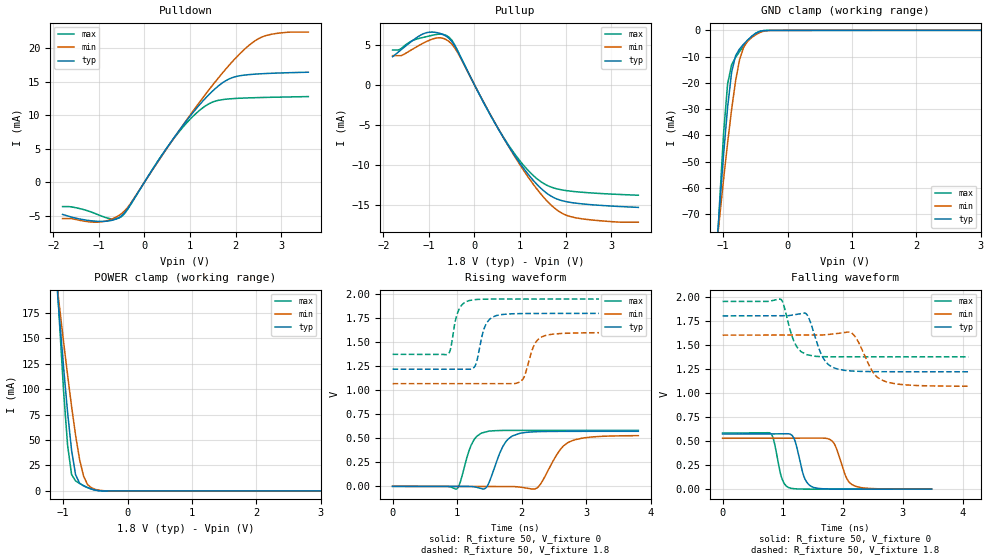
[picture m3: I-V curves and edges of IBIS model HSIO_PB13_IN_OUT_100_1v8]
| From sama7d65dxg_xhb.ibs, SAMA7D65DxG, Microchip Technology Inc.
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|   Model   HSIO_PB13_IN_OUT_100
[Model] HSIO_PB13_IN_OUT_100_1v8
Model_type I/O
Enable   Active-High
Vinl  =  0.54
Vinh  =  1.26
Vmeas =  0.900
| Capacitance   typ   min   max
C_comp   1.163036691660317e-12   1.110531179970373e-12   1.233897269043508e-12
| Variables   typ   min   max
[GND Clamp Reference]   0   0   0
[POWER Clamp Reference]   1.8   1.6   1.95
[Pulldown Reference]   0   0   0
[Pullup Reference]   1.8   1.6   1.95
[Temperature Range]   25   125   -40
[Voltage Range]   1.8   1.6   1.95
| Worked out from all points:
|   slope of the pulldown table from 0 to 0.27 V, typ, clamps not added: 94.7 ohm
|   slope of the pullup table from 0 to 0.27 V, typ, clamps not added: 92.7 ohm
|   GND clamp passes 1 mA (typ) near -0.48 V on its own axis
|   POWER clamp passes 1 mA (typ) near -0.51 V on its own axis
|   falling waveform, R_fixture 50, V_fixture 0: 20-80 % time 139ps typ, 177ps min, 117ps max; typ from 0.573 V to 0 V
|   falling waveform, R_fixture 50, V_fixture 1.8: 20-80 % time 213ps typ, 267ps min, 175ps max; typ from 1.8 V to 1.22 V
|   rising waveform, R_fixture 50, V_fixture 0: 20-80 % time 210ps typ, 288ps min, 167ps max; typ from 0 V to 0.573 V
|   rising waveform, R_fixture 50, V_fixture 1.8: 20-80 % time 128ps typ, 154ps min, 109ps max; typ from 1.22 V to 1.8 V
[GND Clamp]
| Voltage   I(typ)   I(min)   I(max)
-1.8V     -342.3mA   -209.2mA   -383.3mA
-1.117V   -88.41mA   -86.17mA   -95.58mA
-1.055V   -67.24mA   -71.21mA   -65.53mA
-993.1mV  -47.21mA   -56.7mA    -39.17mA
-931mV    -29.36mA   -42.92mA   -20.44mA
-869mV    -16.03mA   -30.19mA   -13.06mA
-806.9mV  -9.642mA   -19.24mA   -10.33mA
-744.8mV  -7.096mA   -11.16mA   -8.045mA
-682.8mV  -5.304mA   -6.514mA   -5.914mA
-496.6mV  -1.217mA   -1.697mA   -1.105mA
-248.3mV  -21.53uA   -36.43uA   -27.1uA
3.6V      0A         0A         0A
[POWER Clamp]
| Voltage   I(typ)   I(min)   I(max)
-1.8V     802.5mA    491.9mA    900.5mA
-1.117V   217.9mA    214.2mA    234.3mA
-1.055V   168.5mA    179.9mA    163.3mA
-993.1mV  121.1mA    146.2mA    97.89mA
-931mV    77.15mA    113.8mA    44.83mA
-869mV    39.82mA    82.92mA    16.06mA
-806.9mV  15.89mA    54.71mA    9.825mA
-744.8mV  7.576mA    31.01mA    7.34mA
-682.8mV  4.957mA    14.53mA    5.181mA
-558.6mV  1.859mA    2.935mA    1.718mA
-372.4mV  36.98uA    212.4uA    18.99uA
3.6V      0A         0A         0A
[Pullup]
| Voltage   I(typ)   I(min)   I(max)
-1.8V     3.509mA    3.632mA    4.33mA
-1.614V   4.36mA     3.632mA    4.505mA
-1.117V   6.374mA    5.216mA    5.918mA
-806.9mV  6.48mA     5.849mA    6.295mA
-620.7mV  6.047mA    5.625mA    6.156mA
-372.4mV  4.21mA     4.047mA    4.29mA
620.7mV   -6.42mA    -6.42mA    -6.364mA
993.1mV   -9.703mA   -9.888mA   -9.411mA
1.366V    -12.34mA   -12.91mA   -11.64mA
1.738V    -14.01mA   -15.23mA   -12.82mA
2.048V    -14.56mA   -16.28mA   -13.17mA
3.6V      -15.24mA   -17.08mA   -13.72mA
[Pulldown]
| Voltage   I(typ)   I(min)   I(max)
-1.8V     -4.784mA   -5.41mA    -3.622mA
-993.1mV  -5.829mA   -5.93mA    -4.902mA
-682.8mV  -5.615mA   -5.385mA   -5.484mA
-496.6mV  -4.954mA   -4.628mA   -5.076mA
-310.3mV  -3.33mA    -3.197mA   -3.403mA
620.7mV   6.373mA    6.318mA    6.315mA
993.1mV   9.771mA    9.919mA    9.327mA
1.366V    12.71mA    13.33mA    11.49mA
1.862V    15.4mA     17.45mA    12.42mA
2.483V    16.13mA    21.3mA     12.61mA
2.917V    16.27mA    22.19mA    12.68mA
3.6V      16.39mA    22.37mA    12.77mA
[Ramp]
dV/dt_r   0.343906/0.210089n  0.317249/0.28884n  0.350043/0.167073n
dV/dt_f   0.348482/0.213076n  0.318744/0.268061n  0.345656/0.175428n
R_load = 50
[Falling Waveform]
R_fixture = 50
V_fixture = 0
V_fixture_min = 0
V_fixture_max = 0
| Time   V(typ)   V(min)   V(max)
0s        573.2mV    528.7mV    583.4mV
803.5ps   573.8mV    529.2mV    577.3mV
985.3ps   574mV      529.3mV    117.5mV
1.132ns   569.7mV    529.4mV    10.45mV
1.211ns   493.1mV    529.4mV    3.946mV
1.37ns    108.7mV    529.5mV    1.182mV
1.519ns   17.54mV    529.6mV    601.7uV
1.842ns   1.778mV    488.9mV    601.2uV
2.177ns   441.4uV    40.5mV     600.6uV
3.481ns   427.5uV    396.3uV    598.4uV
[Falling Waveform]
R_fixture = 50
V_fixture = 1.8
V_fixture_min = 1.6
V_fixture_max = 1.95
| Time   V(typ)   V(min)   V(max)
0s        1.8V       1.6V       1.95V
966ps     1.801V     1.601V     1.974V
1.182ns   1.81V      1.601V     1.546V
1.399ns   1.818V     1.601V     1.397V
1.666ns   1.372V     1.602V     1.376V
1.899ns   1.25V      1.615V     1.375V
2.168ns   1.227V     1.614V     1.374V
2.501ns   1.221V     1.218V     1.374V
2.739ns   1.22V      1.112V     1.374V
4.094ns   1.22V      1.07V      1.374V
[Rising Waveform]
R_fixture = 50
V_fixture = 0
V_fixture_min = 0
V_fixture_max = 0
| Time   V(typ)   V(min)   V(max)
0s        1.811nV    304.7nV    67.61pV
996.2ps   -617.3uV   -502.9uV   -26.66mV
1.262ns   -4.894mV   -637.3uV   485.7mV
1.491ns   31.63mV    -752.9uV   574.6mV
1.751ns   460.2mV    -884uV     582.2mV
1.969ns   551.6mV    -6.932mV   582.5mV
2.263ns   569.7mV    -3.728mV   582.8mV
2.605ns   572.3mV    386.8mV    583.2mV
2.76ns    572.8mV    468.8mV    583.2mV
3.811ns   572.8mV    527.7mV    583.2mV
[Rising Waveform]
R_fixture = 50
V_fixture = 1.8
V_fixture_min = 1.6
V_fixture_max = 1.95
| Time   V(typ)   V(min)   V(max)
0s        1.219V     1.069V     1.374V
858.7ps   1.218V     1.068V     1.376V
1.009ns   1.218V     1.068V     1.808V
1.177ns   1.217V     1.068V     1.932V
1.289ns   1.267V     1.068V     1.944V
1.416ns   1.635V     1.068V     1.948V
1.557ns   1.763V     1.068V     1.949V
2.009ns   1.798V     1.106V     1.949V
2.314ns   1.8V       1.555V     1.949V
3.201ns   1.8V       1.599V     1.949V
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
